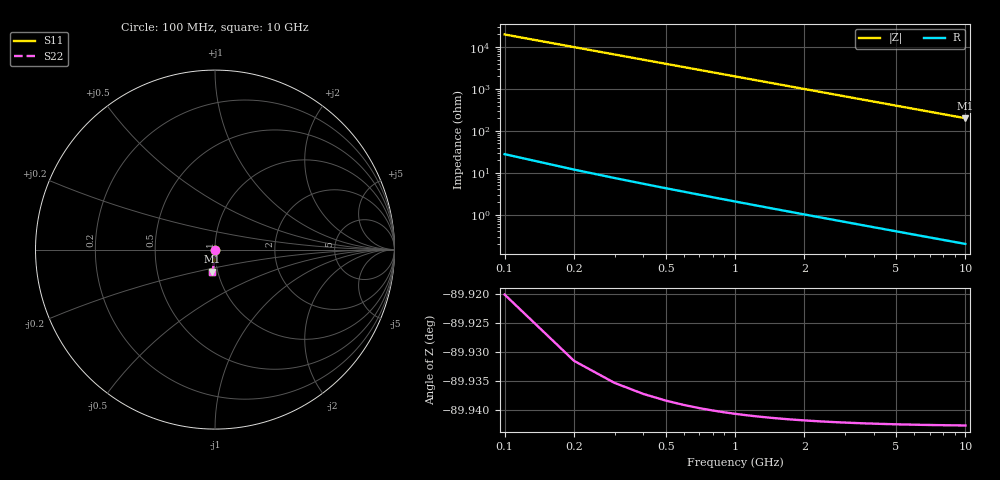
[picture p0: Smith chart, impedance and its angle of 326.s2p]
# Hz S RI R 50.00
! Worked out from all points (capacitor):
!   100 points, 100 MHz to 10 GHz, reference 50 ohm
!   read as one part in shunt: C = 79.8 fF near 100 MHz
!   lowest |Z| = 200 ohm at 10 GHz (marker M1)
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1e8  -2.14e-06 -0.00125  1 -0.00125  1 -0.00125  -2.14e-06 -0.00125
2e8  -8.09e-06 -0.0025  1 -0.00251  1 -0.00251  -8.09e-06 -0.0025
3e8  -1.72e-05 -0.00375  1 -0.00376  1 -0.00376  -1.72e-05 -0.00375
4e8  -2.94e-05 -0.00501  1 -0.00502  1 -0.00502  -2.94e-05 -0.00501
5e8  -4.48e-05 -0.00626  1 -0.00627  1 -0.00627  -4.48e-05 -0.00626
6e8  -6.33e-05 -0.00751  0.9999 -0.00753  0.9999 -0.00753  -6.33e-05 -0.00751
7e8  -8.49e-05 -0.00876  0.9999 -0.00878  0.9999 -0.00878  -8.49e-05 -0.00876
8e8  -0.00011 -0.01  0.9999 -0.01  0.9999 -0.01  -0.00011 -0.01
9e8  -0.000138 -0.0113  0.9999 -0.0113  0.9999 -0.0113  -0.000138 -0.0113
1.1e9  -0.000203 -0.0138  0.9998 -0.0138  0.9998 -0.0138  -0.000203 -0.0138
1.4e9  -0.000324 -0.0175  0.9997 -0.0176  0.9997 -0.0176  -0.000324 -0.0175
1.8e9  -0.00053 -0.0225  0.9995 -0.0226  0.9995 -0.0226  -0.00053 -0.0225
2.1e9  -0.000717 -0.0262  0.9993 -0.0263  0.9993 -0.0263  -0.000717 -0.0262
2.5e9  -0.00101 -0.0312  0.999 -0.0313  0.999 -0.0313  -0.00101 -0.0312
2.9e9  -0.00135 -0.0362  0.9986 -0.0363  0.9986 -0.0363  -0.00135 -0.0362
3.4e9  -0.00185 -0.0424  0.9981 -0.0425  0.9981 -0.0425  -0.00185 -0.0424
4.2e9  -0.0028 -0.0523  0.9972 -0.0525  0.9972 -0.0525  -0.0028 -0.0523
5.1e9  -0.00411 -0.0634  0.9959 -0.0636  0.9959 -0.0636  -0.00411 -0.0634
5.9e9  -0.00548 -0.0732  0.9945 -0.0734  0.9945 -0.0734  -0.00548 -0.0732
6.7e9  -0.00704 -0.083  0.993 -0.0832  0.993 -0.0832  -0.00704 -0.083
8.4e9  -0.011 -0.1035  0.989 -0.1038  0.989 -0.1038  -0.011 -0.1035
1e10  -0.0154 -0.1226  0.9846 -0.1229  0.9846 -0.1229  -0.0154 -0.1226
